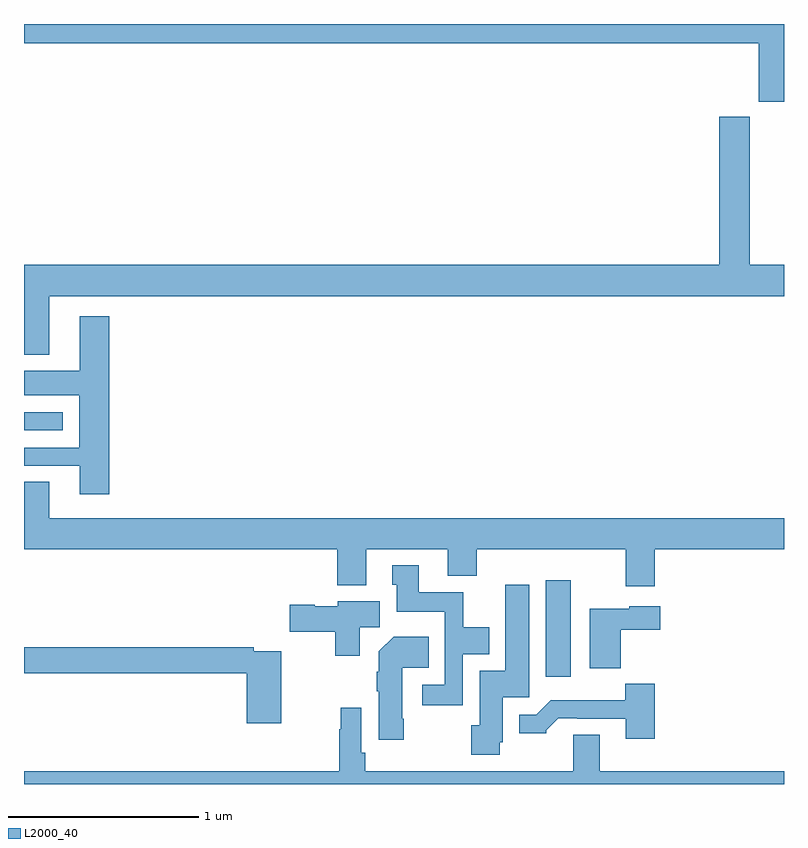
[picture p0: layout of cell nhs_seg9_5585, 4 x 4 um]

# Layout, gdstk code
import gdstk
lib = gdstk.Library(unit=1e-6, precision=1e-09)
def R(c, l, rs):  # rectangles x0, y0, x1, y1
    for r in rs: c.add(gdstk.rectangle(r[:2], r[2:], *l))
def P(c, l, *ps):  # polygons
    for p in ps: c.add(gdstk.Polygon(p, *l))
L2000_40 = (2000, 40)

nhs_seg9_5585 = lib.new_cell('nhs_seg9_5585')
R(nhs_seg9_5585, L2000_40, [(437.747,1213.065,437.878,1213.573), (435,1214.361,435.205,1214.457)])
P(nhs_seg9_5585, L2000_40, [(439,1216.5),(435,1216.5),(435,1216.4),(438.866,1216.4),(438.866,1216.091),(439,1216.091)],
  [(435.133,1215.068),(439,1215.068),(439,1215.232),(438.819,1215.232),(438.819,1216.012),(438.659,1216.012),(438.659,1215.232),(435,1215.232),(435,1214.759),(435.133,1214.759)],
  [(435.449,1214.962),(435.293,1214.962),(435.293,1214.674),(435,1214.674),(435,1214.546),(435.29,1214.546),(435.29,1214.271),(435,1214.271),(435,1214.175),(435.293,1214.175),(435.293,1214.025),(435.449,1214.025)],
  [(438.32,1213.736),(439,1213.736),(439,1213.9),(435.133,1213.9),(435.133,1214.09),(435,1214.09),(435,1213.736),(436.649,1213.736),(436.649,1213.547),(436.801,1213.547),(436.801,1213.736),(437.231,1213.736),(437.231,1213.595),(437.384,1213.595),(437.384,1213.736),(438.167,1213.736),(438.167,1213.542),(438.32,1213.542)],
  [(437.31,1213.184),(437.449,1213.184),(437.449,1213.324),(437.313,1213.324),(437.313,1213.51),(437.077,1213.51),(437.077,1213.651),(436.937,1213.651),(436.937,1213.548),(436.961,1213.548),(436.961,1213.406),(437.214,1213.406),(437.214,1213.023),(437.097,1213.023),(437.097,1212.915),(437.31,1212.915)],
  [(437.505,1212.72),(437.521,1212.72),(437.521,1212.957),(437.659,1212.957),(437.659,1213.549),(437.534,1213.549),(437.534,1213.096),(437.399,1213.096),(437.399,1212.81),(437.353,1212.81),(437.353,1212.654),(437.505,1212.654)],
  [(436.768,1213.324),(436.873,1213.324),(436.873,1213.462),(436.65,1213.462),(436.65,1213.435),(436.53,1213.435),(436.53,1213.443),(436.398,1213.443),(436.398,1213.301),(436.639,1213.301),(436.639,1213.176),(436.768,1213.176)],
  [(438.14,1213.313),(438.349,1213.313),(438.349,1213.435),(438.186,1213.435),(438.186,1213.423),(437.978,1213.423),(437.978,1213.109),(438.14,1213.109)],
  [(436.998,1212.844),(436.99,1212.844),(436.99,1213.112),(437.129,1213.112),(437.129,1213.276),(436.946,1213.276),(436.868,1213.198),(436.868,1213.091),(436.856,1213.091),(436.856,1212.988),(436.868,1212.988),(436.868,1212.732),(436.998,1212.732)],
  [(436.355,1213.2),(436.208,1213.2),(436.208,1213.22),(435,1213.22),(435,1213.084),(436.172,1213.084),(436.172,1212.819),(436.355,1212.819)],
  [(438.32,1213.027),(438.165,1213.027),(438.165,1212.94),(437.773,1212.94),(437.697,1212.864),(437.606,1212.864),(437.606,1212.767),(437.748,1212.767),(437.748,1212.782),(437.812,1212.846),(437.911,1212.846),(437.911,1212.843),(438.167,1212.843),(438.167,1212.738),(438.32,1212.738)],
  [(439,1212.568),(438.031,1212.568),(438.031,1212.758),(437.891,1212.758),(437.891,1212.568),(436.796,1212.568),(436.796,1212.664),(436.776,1212.664),(436.776,1212.901),(436.668,1212.901),(436.668,1212.788),(436.66,1212.788),(436.66,1212.568),(435,1212.568),(435,1212.5),(439,1212.5)])

lib.write_gds('nhs_seg9_5585.gds')
